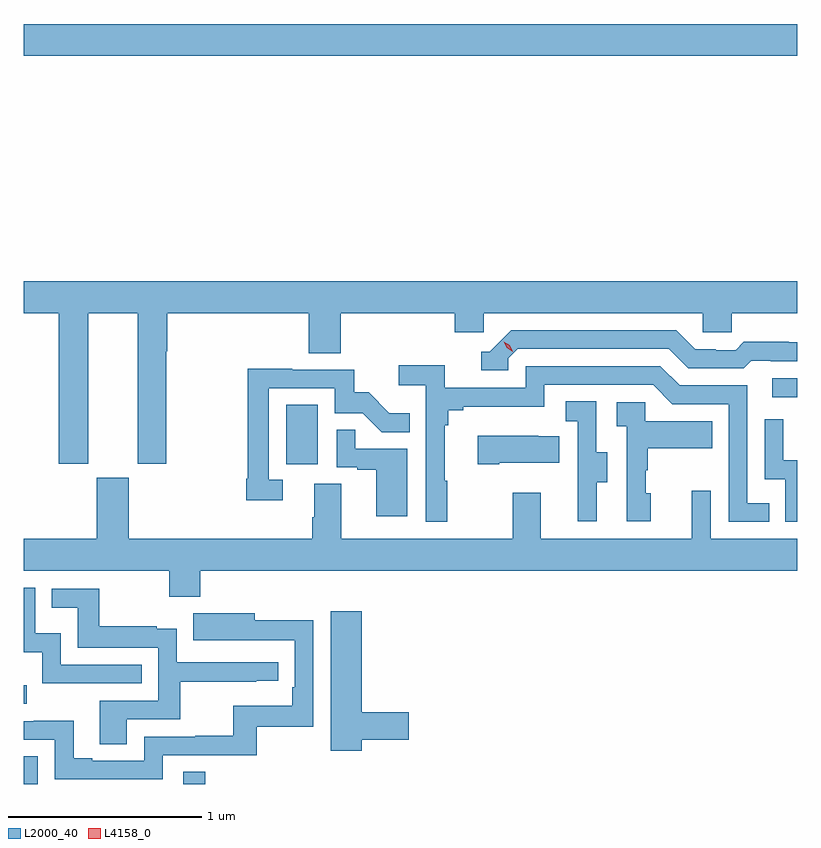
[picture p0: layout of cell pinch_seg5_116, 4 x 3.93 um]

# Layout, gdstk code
import gdstk
lib = gdstk.Library(unit=1e-6, precision=1e-09)
def R(c, l, rs):  # rectangles x0, y0, x1, y1
    for r in rs: c.add(gdstk.rectangle(r[:2], r[2:], *l))
def P(c, l, *ps):  # polygons
    for p in ps: c.add(gdstk.Polygon(p, *l))
L2000_40 = (2000, 40)
L4158_0 = (4158, 0)

pinch_seg5_116 = lib.new_cell('pinch_seg5_116')
R(pinch_seg5_116, L2000_40, [(1044.194,887.624,1044.265,887.768), (1045.017,887.624,1045.133,887.687), (1044.194,888.039,1044.208,888.136), (1045.55,889.278,1045.714,889.585), (1048.065,889.626,1048.194,889.722), (1044.194,891.392,1048.194,891.556)])
P(pinch_seg5_116, L2000_40, [(1044.194,890.06),(1044.374,890.06),(1044.374,889.281),(1044.526,889.281),(1044.526,890.06),(1044.782,890.06),(1044.782,889.281),(1044.93,889.281),(1044.93,889.864),(1044.935,889.864),(1044.935,890.06),(1045.667,890.06),(1045.667,889.852),(1045.832,889.852),(1045.832,890.06),(1046.423,890.06),(1046.423,889.962),(1046.574,889.962),(1046.574,890.06),(1047.705,890.06),(1047.705,889.962),(1047.855,889.962),(1047.855,890.06),(1048.194,890.06),(1048.194,890.224),(1044.194,890.224)],
  [(1046.7,889.827),(1046.748,889.875),(1047.531,889.875),(1047.63,889.776),(1047.919,889.776),(1047.958,889.815),(1048.057,889.815),(1048.057,889.812),(1048.194,889.812),(1048.194,889.909),(1048.152,889.909),(1048.152,889.912),(1047.919,889.912),(1047.877,889.869),(1047.774,889.869),(1047.774,889.872),(1047.667,889.872),(1047.568,889.971),(1046.715,889.971),(1046.604,889.86),(1046.561,889.86),(1046.561,889.764),(1046.7,889.764)],
  [(1046.383,889.193),(1046.371,889.193),(1046.371,889.481),(1046.39,889.481),(1046.39,889.558),(1046.467,889.558),(1046.467,889.577),(1046.886,889.577),(1046.886,889.689),(1047.45,889.689),(1047.549,889.59),(1047.84,889.59),(1047.84,888.981),(1048.049,888.981),(1048.049,889.077),(1047.936,889.077),(1047.936,889.686),(1047.586,889.686),(1047.487,889.785),(1046.79,889.785),(1046.79,889.674),(1046.372,889.674),(1046.372,889.79),(1046.133,889.79),(1046.133,889.688),(1046.274,889.688),(1046.274,888.981),(1046.383,888.981)],
  [(1045.534,889.197),(1045.461,889.197),(1045.461,889.671),(1045.803,889.671),(1045.803,889.542),(1045.947,889.542),(1046.045,889.444),(1046.189,889.444),(1046.189,889.543),(1046.085,889.543),(1045.978,889.65),(1045.902,889.65),(1045.902,889.767),(1045.583,889.767),(1045.583,889.772),(1045.353,889.772),(1045.353,889.204),(1045.345,889.204),(1045.345,889.092),(1045.534,889.092)],
  [(1047.157,889.186),(1047.211,889.186),(1047.211,889.341),(1047.156,889.341),(1047.156,889.604),(1046.997,889.604),(1046.997,889.501),(1047.06,889.501),(1047.06,889.197),(1047.059,889.197),(1047.059,888.984),(1047.157,888.984)],
  [(1047.436,889.128),(1047.411,889.128),(1047.411,889.247),(1047.421,889.247),(1047.421,889.361),(1047.755,889.361),(1047.755,889.501),(1047.408,889.501),(1047.408,889.599),(1047.261,889.599),(1047.261,889.475),(1047.312,889.475),(1047.312,888.984),(1047.436,888.984)],
  [(1048.194,889.298),(1048.122,889.298),(1048.122,889.51),(1048.026,889.51),(1048.026,889.2),(1048.134,889.2),(1048.134,888.981),(1048.194,888.981)],
  [(1046.176,889.359),(1045.907,889.359),(1045.907,889.457),(1045.812,889.457),(1045.812,889.263),(1045.919,889.263),(1045.919,889.251),(1046.018,889.251),(1046.018,889.008),(1046.176,889.008)],
  [(1046.653,889.286),(1046.963,889.286),(1046.963,889.423),(1046.855,889.423),(1046.855,889.426),(1046.541,889.426),(1046.541,889.279),(1046.653,889.279)],
  [(1045.106,888.728),(1048.194,888.728),(1048.194,888.892),(1047.747,888.892),(1047.747,889.141),(1047.65,889.141),(1047.65,888.892),(1046.869,888.892),(1046.869,889.132),(1046.722,889.132),(1046.722,888.892),(1045.837,888.892),(1045.837,889.178),(1045.697,889.178),(1045.697,889.004),(1045.685,889.004),(1045.685,888.892),(1044.736,888.892),(1044.736,889.209),(1044.572,889.209),(1044.572,888.892),(1044.194,888.892),(1044.194,888.728),(1044.946,888.728),(1044.946,888.593),(1045.106,888.593)],
  [(1044.803,888.24),(1044.384,888.24),(1044.384,888.403),(1044.252,888.403),(1044.252,888.639),(1044.194,888.639),(1044.194,888.305),(1044.288,888.305),(1044.288,888.144),(1044.803,888.144)],
  [(1044.727,887.958),(1045.004,887.958),(1045.004,888.154),(1045.397,888.154),(1045.397,888.159),(1045.51,888.159),(1045.51,888.255),(1044.984,888.255),(1044.984,888.427),(1044.881,888.427),(1044.881,888.439),(1044.583,888.439),(1044.583,888.633),(1044.337,888.633),(1044.337,888.536),(1044.472,888.536),(1044.472,888.33),(1044.888,888.33),(1044.888,888.054),(1044.587,888.054),(1044.587,887.83),(1044.727,887.83)],
  [(1045.942,887.854),(1046.185,887.854),(1046.185,887.996),(1045.942,887.996),(1045.942,888.517),(1045.781,888.517),(1045.781,887.796),(1045.942,887.796)],
  [(1044.912,887.772),(1045.399,887.772),(1045.399,887.919),(1045.692,887.919),(1045.692,888.47),(1045.387,888.47),(1045.387,888.508),(1045.069,888.508),(1045.069,888.368),(1045.283,888.368),(1045.283,888.369),(1045.596,888.369),(1045.596,888.124),(1045.583,888.124),(1045.583,888.028),(1045.278,888.028),(1045.278,887.873),(1045.081,887.873),(1045.081,887.868),(1044.816,887.868),(1044.816,887.745),(1044.547,887.745),(1044.547,887.758),(1044.451,887.758),(1044.451,887.951),(1044.246,887.951),(1044.246,887.949),(1044.194,887.949),(1044.194,887.853),(1044.354,887.853),(1044.354,887.649),(1044.912,887.649)])
P(pinch_seg5_116, L4158_0, [(1046.724,889.861),(1046.693,889.88),(1046.677,889.913),(1046.677,889.913),(1046.677,889.913),(1046.708,889.894),(1046.724,889.861),(1046.724,889.861)])

lib.write_gds('pinch_seg5_116.gds')
